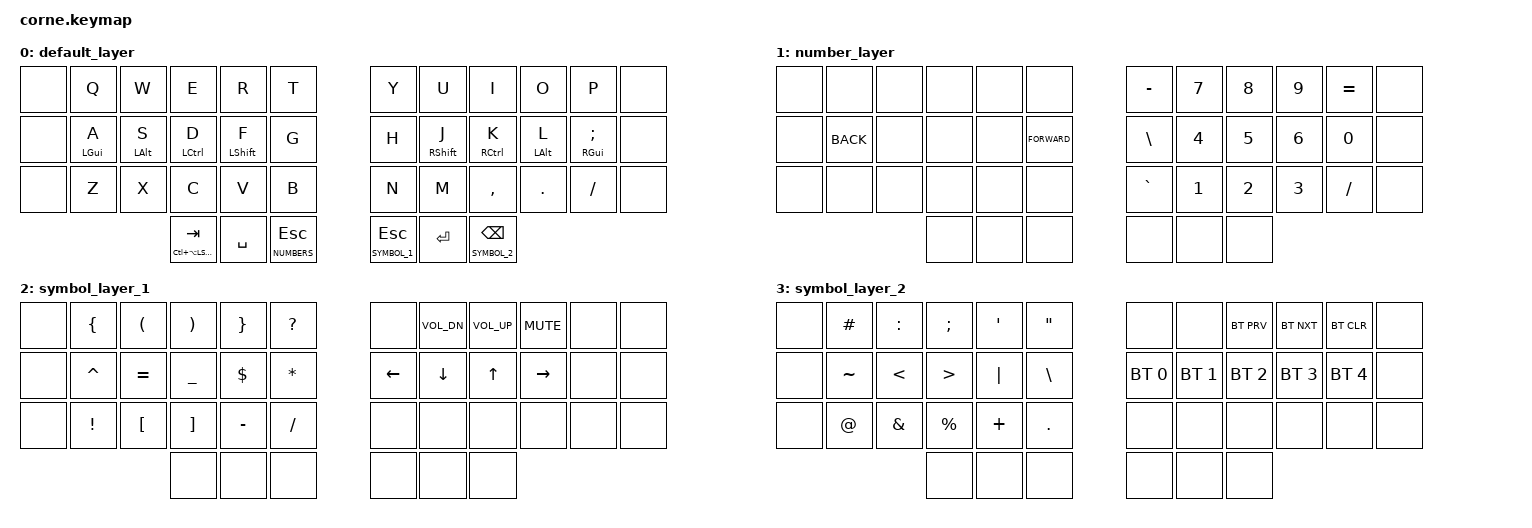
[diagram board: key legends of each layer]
/*
 * Copyright (c) 2020 The ZMK Contributors
 *
 * SPDX-License-Identifier: MIT
 */

#include <behaviors.dtsi>
#include <dt-bindings/zmk/bt.h>
#include <dt-bindings/zmk/keys.h>
#include <dt-bindings/zmk/outputs.h>

#define TAPPING_TERM 200

// layers
#define DEFAULT 0
#define NUMBERS 1
#define SYMBOL_1 2
#define SYMBOL_2 3


/ {
        behaviors {
            hm: homerow_mods {
                compatible = "zmk,behavior-hold-tap";
                #binding-cells = <2>;
                tapping-term-ms = <TAPPING_TERM>;
                quick-tap-ms = <50>;
                flavor = "tap-preferred";
                bindings = <&kp>, <&kp>;
            };
        };

        keymap {
                compatible = "zmk,keymap";

                default_layer {
                        bindings = <
    &none &kp Q      &kp W      &kp E       &kp R        &kp T   &kp Y  &kp U        &kp I       &kp O      &kp P          &none
    &none &hm LGUI A &hm LALT S &hm LCTRL D &hm LSHFT F  &kp G   &kp H  &hm RSHFT J  &hm RCTRL K &hm LALT L &hm RGUI SEMI  &none
    &none &kp Z      &kp X      &kp C       &kp V        &kp B   &kp N  &kp M        &kp COMMA   &kp DOT    &kp FSLH       &none
                  &mt LC(LA(LSHFT)) TAB &kp SPACE &lt NUMBERS ESC   &lt SYMBOL_1 ESC &kp RET     &lt SYMBOL_2 BSPC
                        >;
                };

                number_layer {
                        bindings = <
    &none &none      &none      &none       &none        &none           &kp MINUS   &kp N7        &kp N8       &kp N9      &kp EQUAL      &none
    &none &kp K_BACK &none      &none       &none        &kp K_FORWARD   &kp BSLH    &kp N4        &kp N5       &kp N6      &kp N0         &none
    &none &none      &none      &none       &none        &none           &kp GRAVE   &kp N1        &kp N2       &kp N3      &kp FSLH       &none
                  &none &none &none    &none &none &none
                        >;
                };

                symbol_layer_1 {
                        bindings = <
    &none &kp LBRC      &kp LPAR      &kp RPAR       &kp RBRC        &kp QMARK          &none       &kp K_VOL_DN  &kp K_VOL_UP       &kp K_MUTE      &none      &none
    &none &kp CARET     &kp EQUAL     &kp UNDER      &kp DLLR        &kp STAR           &kp LEFT    &kp DOWN      &kp UP             &kp RIGHT       &none      &none
    &none &kp EXCL      &kp LBKT      &kp RBKT       &kp MINUS       &kp FSLH           &none       &none         &none              &none           &none      &none
                  &none &none &none    &none &none &none
                        >;
                };

                symbol_layer_2 {
                        bindings = <
    &none &kp HASH      &kp COLON      &kp SEMI       &kp SQT        &kp DQT      &none        &none   &bt BT_PRV    &bt BT_NXT    &bt BT_CLR    &none
    &none &kp TILDE     &kp LT         &kp GT         &kp PIPE       &kp BSLH     &bt BT_SEL 0 &bt BT_SEL 1  &bt BT_SEL 2  &bt BT_SEL 3  &bt BT_SEL 4  &none
    &none &kp AT        &kp AMPS       &kp PRCNT      &kp PLUS       &kp DOT      &none        &none         &none         &none         &none         &none
                  &none &none &none    &none &none &none
                        >;
                };
        };
};
